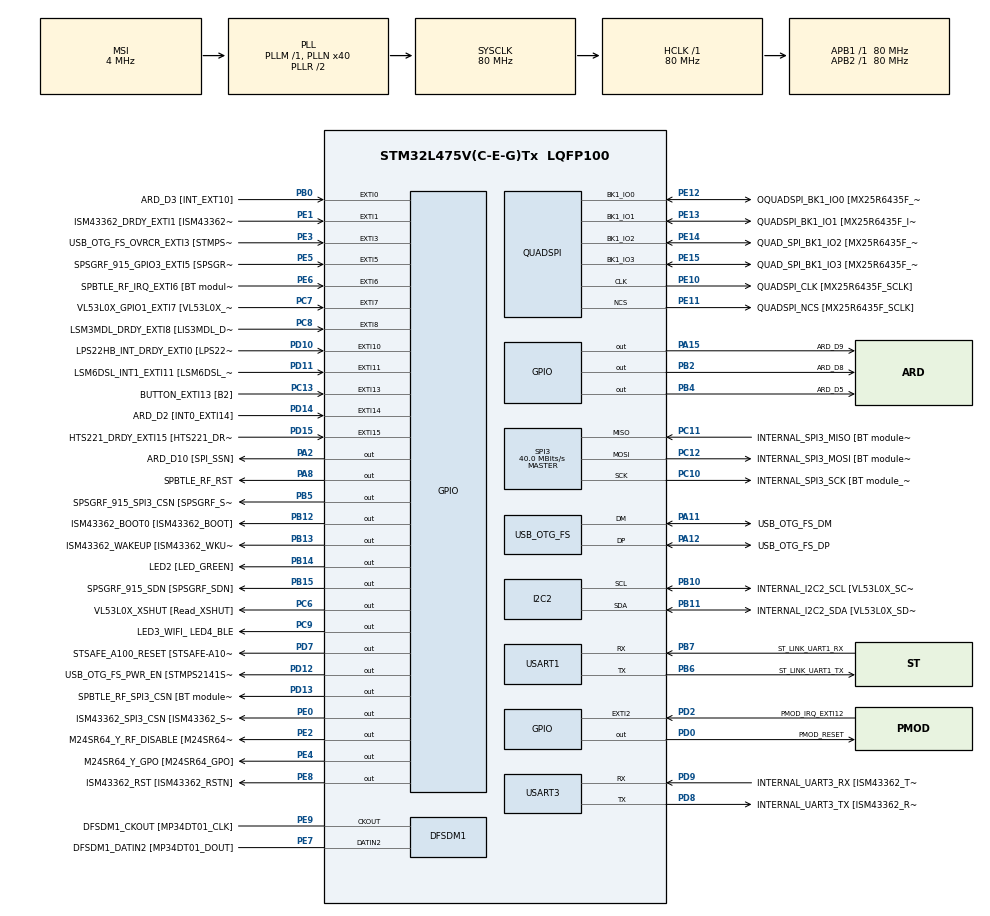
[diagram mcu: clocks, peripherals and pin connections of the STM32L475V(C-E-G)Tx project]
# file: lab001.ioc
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FREERTOS.BinarySemaphores01=BinarySem01,Dynamic,NULL,Available;BinarySem02,Dynamic,NULL,Available
FREERTOS.Mutexes01=Mutex01,Dynamic,NULL,Available
FREERTOS.Tasks01=defaultTask,24,128,StartDefaultTask,Default,NULL,Dynamic,NULL,NULL;Task01,8,128,StartTask02,Default,NULL,Dynamic,NULL,NULL;Task02,8,128,StartTask03,Default,NULL,Dynamic,NULL,NULL
I2C2.Timing=0x10D19CE4
Mcu.Family=STM32L4
Mcu.Name=STM32L475V(C-E-G)Tx
Mcu.Package=LQFP100
NVIC.EXTI15_10_IRQn=true\:5\:0\:false\:false\:true\:true\:true\:true\:true
NVIC.EXTI9_5_IRQn=true\:5\:0\:false\:false\:true\:true\:true\:true\:true
NVIC.PriorityGroup=NVIC_PRIORITYGROUP_4
NVIC.TIM6_DAC_IRQn=true\:5\:0\:false\:false\:true\:true\:true\:true\:true
PA0.GPIO_Label=ARD_D1 [UART4_TX]
PA0.Signal=UART4_TX
PA1.GPIO_Label=ARD_D0 [UART4_RX]
PA1.Signal=UART4_RX
PA10.GPIO_Label=USB_OTG_FS_ID
PA10.Signal=USB_OTG_FS_ID
PA11.GPIO_Label=USB_OTG_FS_DM
PA11.Mode=Device_Only
PA11.Signal=USB_OTG_FS_DM
PA12.GPIO_Label=USB_OTG_FS_DP
PA12.Mode=Device_Only
PA12.Signal=USB_OTG_FS_DP
PA13\ (JTMS-SWDIO).GPIO_Label=SYS_JTMS_SWDIO
PA13\ (JTMS-SWDIO).Mode=Serial_Wire
PA13\ (JTMS-SWDIO).Signal=SYS_JTMS-SWDIO
PA14\ (JTCK-SWCLK).GPIO_Label=SYS_JTCK_SWCLK
PA14\ (JTCK-SWCLK).Mode=Serial_Wire
PA14\ (JTCK-SWCLK).Signal=SYS_JTCK-SWCLK
PA15\ (JTDI).GPIO_Label=ARD_D9
PA15\ (JTDI).Signal=GPIO_Output
PA2.GPIO_Label=ARD_D10 [SPI_SSN]
PA2.Signal=GPIO_Output
PA3.GPIO_Label=ARD_D4
PA3.Signal=S_TIM2_CH4
PA4.GPIO_Label=ARD_D7
PA4.Signal=ADCx_IN9
PA5.GPIO_Label=ARD_D13 [SPI1_SCK]
PA5.Signal=SPI1_SCK
PA6.GPIO_Label=ARD_D12 [SPI1_MISO]
PA6.Signal=SPI1_MISO
PA7.GPIO_Label=ARD_D11 [SPI1_MOSI]
PA7.Signal=SPI1_MOSI
PA8.GPIO_Label=SPBTLE_RF_RST
PA8.Signal=GPIO_Output
PA9.GPIO_Label=USB_OTG_FS_VBUS [STMPS2141STR_OUT]
PA9.Signal=USB_OTG_FS_VBUS
PB0.GPIO_Label=ARD_D3 [INT_EXT10]
PB0.Signal=GPXTI0
PB1.GPIO_Label=ARD_D6 [ADC1_IN6]
PB1.Signal=ADCx_IN16
PB10.GPIO_Label=INTERNAL_I2C2_SCL [VL53L0X_SCL]
PB10.GPIO_Pu=GPIO_PULLUP
PB10.Mode=I2C
PB10.Signal=I2C2_SCL
PB11.GPIO_Label=INTERNAL_I2C2_SDA [VL53L0X_SDA]
PB11.GPIO_Pu=GPIO_PULLUP
PB11.Mode=I2C
PB11.Signal=I2C2_SDA
PB12.GPIO_Label=ISM43362_BOOT0 [ISM43362_BOOT]
PB12.Signal=GPIO_Output
PB13.GPIO_Label=ISM43362_WAKEUP [ISM43362_WKUP]
PB13.GPIO_PuPd=GPIO_NOPULL
PB13.Signal=GPIO_Output
PB14.GPIO_Label=LED2 [LED_GREEN]
PB14.Signal=GPIO_Output
PB15.GPIO_Label=SPSGRF_915_SDN [SPSGRF_SDN]
PB15.Signal=GPIO_Output
PB2.GPIO_Label=ARD_D8
PB2.Signal=GPIO_Output
PB3\ (JTDO-TRACESWO).GPIO_Label=SYS_JTD0_SWO
PB3\ (JTDO-TRACESWO).Signal=SYS_JTDO-SWO
PB4\ (NJTRST).GPIO_Label=ARD_D5
PB4\ (NJTRST).Signal=GPIO_Output
PB5.GPIO_Label=SPSGRF_915_SPI3_CSN [SPSGRF_SPI_CS]
PB5.PinState=GPIO_PIN_SET
PB5.Signal=GPIO_Output
PB6.GPIO_Label=ST_LINK_UART1_TX
PB6.Mode=Asynchronous
PB6.Signal=USART1_TX
PB7.GPIO_Label=ST_LINK_UART1_RX
PB7.Mode=Asynchronous
PB7.Signal=USART1_RX
PB8.GPIO_Label=ARD_D15 [I2C1_SCL]
PB8.Signal=I2C1_SCL
PB9.GPIO_Label=ARD_D14 [I2C1_SDA]
PB9.Signal=I2C1_SDA
PC0.GPIO_Label=ARD_A5 [ADC]
PC0.Signal=ADCx_IN1
PC1.GPIO_Label=ARD_A4 [ADC]
PC1.Signal=ADCx_IN2
PC10.GPIO_Label=INTERNAL_SPI3_SCK [BT module_SPI_SCLK] [ISM43362_SCK]
PC10.Mode=Full_Duplex_Master
PC10.Signal=SPI3_SCK
PC11.GPIO_Label=INTERNAL_SPI3_MISO [BT module_SPI_MISO] [ISM43362_MISO]
PC11.Mode=Full_Duplex_Master
PC11.Signal=SPI3_MISO
PC12.GPIO_Label=INTERNAL_SPI3_MOSI [BT module_SPI_MOSI] [ISM43362_MOSI]
PC12.Mode=Full_Duplex_Master
PC12.Signal=SPI3_MOSI
PC13.GPIO_Label=BUTTON_EXTI13 [B2]
PC13.GPIO_PuPd=GPIO_NOPULL
PC13.Signal=GPXTI13
PC14-OSC32_IN\ (PC14).Mode=LSE-External-Oscillator
PC14-OSC32_IN\ (PC14).Signal=RCC_OSC32_IN
PC15-OSC32_OUT\ (PC15).Mode=LSE-External-Oscillator
PC15-OSC32_OUT\ (PC15).Signal=RCC_OSC32_OUT
PC2.GPIO_Label=ARD_A3 [ADC]
PC2.Signal=ADCx_IN3
PC3.GPIO_Label=ARD_A2 [ADC]
PC3.Signal=ADCx_IN4
PC4.GPIO_Label=ARD_A1 [ADC]
PC4.Signal=ADCx_IN13
PC5.GPIO_Label=ARD_A0 [ADC]
PC5.Signal=ADCx_IN14
PC6.GPIO_Label=VL53L0X_XSHUT [Read_XSHUT]
PC6.Signal=GPIO_Output
PC7.GPIO_Label=VL53L0X_GPIO1_EXTI7 [VL53L0X_GPIO1]
PC7.Signal=GPXTI7
PC8.GPIO_Label=LSM3MDL_DRDY_EXTI8 [LIS3MDL_DRDY]
PC8.Signal=GPXTI8
PC9.GPIO_Label=LED3_WIFI_ LED4_BLE
PC9.Signal=GPIO_Output
PD0.GPIO_Label=PMOD_RESET
PD0.Signal=GPIO_Output
PD1.GPIO_Label=PMOD_SPI2_SCK
PD1.Signal=SPI2_SCK
PD10.GPIO_Label=LPS22HB_INT_DRDY_EXTI0 [LPS22HB_INT_DRDY] 
PD10.Signal=GPXTI10
PD11.GPIO_Label=LSM6DSL_INT1_EXTI11 [LSM6DSL_INT1]
PD11.Signal=GPXTI11
PD12.GPIO_Label=USB_OTG_FS_PWR_EN [STMPS2141STR_EN]
PD12.Signal=GPIO_Output
PD13.GPIO_Label=SPBTLE_RF_SPI3_CSN [BT module_SPI_CS]
PD13.PinState=GPIO_PIN_SET
PD13.Signal=GPIO_Output
PD14.GPIO_Label=ARD_D2 [INT0_EXTI14]
PD14.Signal=GPXTI14
PD15.GPIO_Label=HTS221_DRDY_EXTI15 [HTS221_DRDY]
PD15.Signal=GPXTI15
PD2.GPIO_Label=PMOD_IRQ_EXTI12
PD2.Signal=GPXTI2
PD3.GPIO_Label=PMOD_UART2_CTS
PD3.Signal=USART2_CTS
PD4.GPIO_Label=PMOD_UART2_RTS
PD4.Signal=USART2_RTS
PD5.GPIO_Label=PMOD_UART2_TX
PD5.Signal=USART2_TX
PD6.GPIO_Label=PMOD_UART2_RX
PD6.Signal=USART2_RX
PD7.GPIO_Label=STSAFE_A100_RESET [STSAFE-A100_RESET]
PD7.Signal=GPIO_Output
PD8.GPIO_Label=INTERNAL_UART3_TX [ISM43362_RX]
PD8.Mode=Asynchronous
PD8.Signal=USART3_TX
PD9.GPIO_Label=INTERNAL_UART3_RX [ISM43362_TX]
PD9.Mode=Asynchronous
PD9.Signal=USART3_RX
PE0.GPIO_Label=ISM43362_SPI3_CSN [ISM43362_SSN]
PE0.PinState=GPIO_PIN_SET
PE0.Signal=GPIO_Output
PE1.GPIO_Label=ISM43362_DRDY_EXTI1 [ISM43362_DATARDY]
PE1.Signal=GPXTI1
PE10.GPIO_Label=QUADSPI_CLK [MX25R6435F_SCLK]
PE10.Mode=Single Bank
PE10.Signal=QUADSPI_CLK
PE11.GPIO_Label=QUADSPI_NCS [MX25R6435F_SCLK]
PE11.Mode=Single Bank
PE11.Signal=QUADSPI_NCS
PE12.GPIO_Label=OQUADSPI_BK1_IO0 [MX25R6435F_IO0]
PE12.Mode=Single Bank
PE12.Signal=QUADSPI_BK1_IO0
PE13.GPIO_Label=QUADSPI_BK1_IO1 [MX25R6435F_IO1]
PE13.Mode=Single Bank
PE13.Signal=QUADSPI_BK1_IO1
PE14.GPIO_Label=QUAD_SPI_BK1_IO2 [MX25R6435F_IO2]
PE14.Mode=Single Bank
PE14.Signal=QUADSPI_BK1_IO2
PE15.GPIO_Label=QUAD_SPI_BK1_IO3 [MX25R6435F_IO3]
PE15.Mode=Single Bank
PE15.Signal=QUADSPI_BK1_IO3
PE2.GPIO_Label=M24SR64_Y_RF_DISABLE [M24SR64_RFDIS]
PE2.Signal=GPIO_Output
PE3.GPIO_Label=USB_OTG_FS_OVRCR_EXTI3 [STMPS2141STR_FAULT]
PE3.Signal=GPXTI3
PE4.GPIO_Label=M24SR64_Y_GPO [M24SR64_GPO]
PE4.Signal=GPIO_Output
PE5.GPIO_Label=SPSGRF_915_GPIO3_EXTI5 [SPSGRF_GPIO_3]
PE5.Signal=GPXTI5
PE6.GPIO_Label=SPBTLE_RF_IRQ_EXTI6 [BT module_SPI_IRQ]
PE6.Signal=GPXTI6
PE7.GPIO_Label=DFSDM1_DATIN2 [MP34DT01_DOUT]
PE7.Signal=S_DATAIN2DFSDM1
PE8.GPIO_Label=ISM43362_RST [ISM43362_RSTN]
PE8.Signal=GPIO_Output
PE9.GPIO_Label=DFSDM1_CKOUT [MP34DT01_CLK]
PE9.Signal=S_CKOUTDFSDM1
ProjectManager.HeapSize=0x200
ProjectManager.StackSize=0x400
ProjectManager.TargetToolchain=STM32CubeIDE
QUADSPI.ClockPrescaler=2
QUADSPI.FifoThreshold=4
QUADSPI.FlashSize=23
QUADSPI.SampleShifting=QSPI_SAMPLE_SHIFTING_HALFCYCLE
RCC.ADCFreq_Value=48000000
RCC.AHBFreq_Value=80000000
RCC.APB1Freq_Value=80000000
RCC.APB1TimFreq_Value=80000000
RCC.APB2Freq_Value=80000000
RCC.APB2TimFreq_Value=80000000
RCC.CortexFreq_Value=80000000
RCC.HCLKFreq_Value=80000000
RCC.HSE_VALUE=8000000
RCC.HSI_VALUE=16000000
RCC.MSI_VALUE=4000000
RCC.PLLN=40
RCC.PLLSAI1N=24
RCC.SYSCLKFreq_VALUE=80000000
RCC.SYSCLKSource=RCC_SYSCLKSOURCE_PLLCLK
RCC.USBFreq_Value=48000000
RCC.VCOOutputFreq_Value=160000000
SH.ADCx_IN1.0=ADC1_IN1
SH.ADCx_IN13.0=ADC1_IN13
SH.ADCx_IN14.0=ADC1_IN14
SH.ADCx_IN16.0=ADC1_IN16
SH.ADCx_IN2.0=ADC1_IN2
SH.ADCx_IN3.0=ADC1_IN3
SH.ADCx_IN4.0=ADC1_IN4
SH.ADCx_IN9.0=ADC1_IN9
SH.S_CKOUTDFSDM1.0=DFSDM1_CKOUT,CKOUT
SH.S_CKOUTDFSDM1.1=DFSDM1_CKOUT,PDM_SPI_Input_from_ch12_and_Internal_Clock
SH.S_DATAIN2DFSDM1.0=DFSDM1_DATIN2,PDM_SPI_Input_from_ch12_and_Internal_Clock
SH.S_TIM2_CH4.0=TIM2_CH4
SPI3.CalculateBaudRate=40.0 MBits/s
SPI3.Direction=SPI_DIRECTION_2LINES
SPI3.Mode=SPI_MODE_MASTER
SPI3.VirtualType=VM_MASTER
TIM6.AutoReloadPreload=TIM_AUTORELOAD_PRELOAD_ENABLE
TIM6.Period=31999
TIM6.Prescaler=24999
USART1.VirtualMode-Asynchronous=VM_ASYNC
USART3.VirtualMode-Asynchronous=VM_ASYNC
USB_OTG_FS.VirtualMode=Device_Only
VP_FREERTOS_VS_CMSIS_V2.Mode=CMSIS_V2
VP_TIM6_VS_ClockSourceINT.Mode=Enable_Timer
board=B-L475E-IOT01A1

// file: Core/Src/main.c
/* USER CODE BEGIN Header */
/**
  ******************************************************************************
  * @file           : main.c
  * @brief          : Main program body
  ******************************************************************************
  * @attention
  *
  * Copyright (c) 2024 STMicroelectronics.
  * All rights reserved.
  *
  * This software is licensed under terms that can be found in the LICENSE file
  * in the root directory of this software component.
  * If no LICENSE file comes with this software, it is provided AS-IS.
  *
  ******************************************************************************
  */
/* USER CODE END Header */
#include "main.h"
#include "cmsis_os.h"

DFSDM_Channel_HandleTypeDef hdfsdm1_channel1;

I2C_HandleTypeDef hi2c2;

QSPI_HandleTypeDef hqspi;

SPI_HandleTypeDef hspi3;

TIM_HandleTypeDef htim6;

UART_HandleTypeDef huart1;
UART_HandleTypeDef huart3;

PCD_HandleTypeDef hpcd_USB_OTG_FS;

/* Definitions for defaultTask */
osThreadId_t defaultTaskHandle;
const osThreadAttr_t defaultTask_attributes = {
  .name = "defaultTask",
  .stack_size = 128 * 4,
  .priority = (osPriority_t) osPriorityNormal,
};
/* Definitions for Task01 */
osThreadId_t Task01Handle;
const osThreadAttr_t Task01_attributes = {
  .name = "Task01",
  .stack_size = 128 * 4,
  .priority = (osPriority_t) osPriorityLow,
};
/* Definitions for Task02 */
osThreadId_t Task02Handle;
const osThreadAttr_t Task02_attributes = {
  .name = "Task02",
  .stack_size = 128 * 4,
  .priority = (osPriority_t) osPriorityLow,
};
/* Definitions for Mutex01 */
osMutexId_t Mutex01Handle;
const osMutexAttr_t Mutex01_attributes = {
  .name = "Mutex01"
};
/* Definitions for BinarySem01 */
osSemaphoreId_t BinarySem01Handle;
const osSemaphoreAttr_t BinarySem01_attributes = {
  .name = "BinarySem01"
};
/* Definitions for BinarySem02 */
osSemaphoreId_t BinarySem02Handle;
const osSemaphoreAttr_t BinarySem02_attributes = {
  .name = "BinarySem02"
};

void SystemClock_Config(void);
static void MX_GPIO_Init(void);
static void MX_DFSDM1_Init(void);
static void MX_I2C2_Init(void);
static void MX_QUADSPI_Init(void);
static void MX_SPI3_Init(void);
static void MX_USART1_UART_Init(void);
static void MX_USART3_UART_Init(void);
static void MX_USB_OTG_FS_PCD_Init(void);
static void MX_TIM6_Init(void);
void StartDefaultTask(void *argument);
void StartTask02(void *argument);
void StartTask03(void *argument);

/* USER CODE BEGIN 0 */
void HAL_TIM_PeriodElapsedCallback(TIM_HandleTypeDef *htim)
{
  /* Prevent unused argument(s) compilation warning */
	if (htim == &htim6){
		osSemaphoreRelease(BinarySem02Handle);
	}

  /* NOTE : This function should not be modified, when the callback is needed,
            the HAL_TIM_PeriodElapsedCallback could be implemented in the user file
   */
}

/* USER CODE END 0 */

int main(void)
{

  /* MCU Configuration--------------------------------------------------------*/

  /* Reset of all peripherals, Initializes the Flash interface and the Systick. */
  HAL_Init();

  /* Configure the system clock */
  SystemClock_Config();

  /* Initialize all configured peripherals */
  MX_GPIO_Init();
  MX_DFSDM1_Init();
  MX_I2C2_Init();
  MX_QUADSPI_Init();
  MX_SPI3_Init();
  MX_USART1_UART_Init();
  MX_USART3_UART_Init();
  MX_USB_OTG_FS_PCD_Init();
  MX_TIM6_Init();
  /* USER CODE BEGIN 2 */
  HAL_TIM_Base_Start_IT(&htim6);
  /* USER CODE END 2 */

  /* Init scheduler */
  osKernelInitialize();
  /* Create the mutex(es) */
  /* creation of Mutex01 */
  Mutex01Handle = osMutexNew(&Mutex01_attributes);

  /* Create the semaphores(s) */
  /* creation of BinarySem01 */
  BinarySem01Handle = osSemaphoreNew(1, 0, &BinarySem01_attributes);

  /* creation of BinarySem02 */
  BinarySem02Handle = osSemaphoreNew(1, 1, &BinarySem02_attributes);

  /* Create the thread(s) */
  /* creation of defaultTask */
  defaultTaskHandle = osThreadNew(StartDefaultTask, NULL, &defaultTask_attributes);

  /* creation of Task01 */
  Task01Handle = osThreadNew(StartTask02, NULL, &Task01_attributes);

  /* creation of Task02 */
  Task02Handle = osThreadNew(StartTask03, NULL, &Task02_attributes);

  /* Start scheduler */
  osKernelStart();

  /* We should never get here as control is now taken by the scheduler */

  /* Infinite loop */
  while (1)
  {

  }
}

void SystemClock_Config(void)
{
  RCC_OscInitTypeDef RCC_OscInitStruct = {0};
  RCC_ClkInitTypeDef RCC_ClkInitStruct = {0};

  /** Configure the main internal regulator output voltage
  */
  if (HAL_PWREx_ControlVoltageScaling(PWR_REGULATOR_VOLTAGE_SCALE1) != HAL_OK)
  {
    Error_Handler();
  }

  /** Configure LSE Drive Capability
  */
  HAL_PWR_EnableBkUpAccess();
  __HAL_RCC_LSEDRIVE_CONFIG(RCC_LSEDRIVE_LOW);

  /** Initializes the RCC Oscillators according to the specified parameters
  * in the RCC_OscInitTypeDef structure.
  */
  RCC_OscInitStruct.OscillatorType = RCC_OSCILLATORTYPE_LSE|RCC_OSCILLATORTYPE_MSI;
  RCC_OscInitStruct.LSEState = RCC_LSE_ON;
  RCC_OscInitStruct.MSIState = RCC_MSI_ON;
  RCC_OscInitStruct.MSICalibrationValue = 0;
  RCC_OscInitStruct.MSIClockRange = RCC_MSIRANGE_6;
  RCC_OscInitStruct.PLL.PLLState = RCC_PLL_ON;
  RCC_OscInitStruct.PLL.PLLSource = RCC_PLLSOURCE_MSI;
  RCC_OscInitStruct.PLL.PLLM = 1;
  RCC_OscInitStruct.PLL.PLLN = 40;
  RCC_OscInitStruct.PLL.PLLP = RCC_PLLP_DIV7;
  RCC_OscInitStruct.PLL.PLLQ = RCC_PLLQ_DIV2;
  RCC_OscInitStruct.PLL.PLLR = RCC_PLLR_DIV2;
  if (HAL_RCC_OscConfig(&RCC_OscInitStruct) != HAL_OK)
  {
    Error_Handler();
  }

  /** Initializes the CPU, AHB and APB buses clocks
  */
  RCC_ClkInitStruct.ClockType = RCC_CLOCKTYPE_HCLK|RCC_CLOCKTYPE_SYSCLK
                              |RCC_CLOCKTYPE_PCLK1|RCC_CLOCKTYPE_PCLK2;
  RCC_ClkInitStruct.SYSCLKSource = RCC_SYSCLKSOURCE_PLLCLK;
  RCC_ClkInitStruct.AHBCLKDivider = RCC_SYSCLK_DIV1;
  RCC_ClkInitStruct.APB1CLKDivider = RCC_HCLK_DIV1;
  RCC_ClkInitStruct.APB2CLKDivider = RCC_HCLK_DIV1;

  if (HAL_RCC_ClockConfig(&RCC_ClkInitStruct, FLASH_LATENCY_4) != HAL_OK)
  {
    Error_Handler();
  }

  /** Enable MSI Auto calibration
  */
  HAL_RCCEx_EnableMSIPLLMode();
}

static void MX_DFSDM1_Init(void)
{

  hdfsdm1_channel1.Instance = DFSDM1_Channel1;
  hdfsdm1_channel1.Init.OutputClock.Activation = ENABLE;
  hdfsdm1_channel1.Init.OutputClock.Selection = DFSDM_CHANNEL_OUTPUT_CLOCK_SYSTEM;
  hdfsdm1_channel1.Init.OutputClock.Divider = 2;
  hdfsdm1_channel1.Init.Input.Multiplexer = DFSDM_CHANNEL_EXTERNAL_INPUTS;
  hdfsdm1_channel1.Init.Input.DataPacking = DFSDM_CHANNEL_STANDARD_MODE;
  hdfsdm1_channel1.Init.Input.Pins = DFSDM_CHANNEL_FOLLOWING_CHANNEL_PINS;
  hdfsdm1_channel1.Init.SerialInterface.Type = DFSDM_CHANNEL_SPI_RISING;
  hdfsdm1_channel1.Init.SerialInterface.SpiClock = DFSDM_CHANNEL_SPI_CLOCK_INTERNAL;
  hdfsdm1_channel1.Init.Awd.FilterOrder = DFSDM_CHANNEL_FASTSINC_ORDER;
  hdfsdm1_channel1.Init.Awd.Oversampling = 1;
  hdfsdm1_channel1.Init.Offset = 0;
  hdfsdm1_channel1.Init.RightBitShift = 0x00;
  if (HAL_DFSDM_ChannelInit(&hdfsdm1_channel1) != HAL_OK)
  {
    Error_Handler();
  }

}

static void MX_I2C2_Init(void)
{

  hi2c2.Instance = I2C2;
  hi2c2.Init.Timing = 0x10D19CE4;
  hi2c2.Init.OwnAddress1 = 0;
  hi2c2.Init.AddressingMode = I2C_ADDRESSINGMODE_7BIT;
  hi2c2.Init.DualAddressMode = I2C_DUALADDRESS_DISABLE;
  hi2c2.Init.OwnAddress2 = 0;
  hi2c2.Init.OwnAddress2Masks = I2C_OA2_NOMASK;
  hi2c2.Init.GeneralCallMode = I2C_GENERALCALL_DISABLE;
  hi2c2.Init.NoStretchMode = I2C_NOSTRETCH_DISABLE;
  if (HAL_I2C_Init(&hi2c2) != HAL_OK)
  {
    Error_Handler();
  }

  /** Configure Analogue filter
  */
  if (HAL_I2CEx_ConfigAnalogFilter(&hi2c2, I2C_ANALOGFILTER_ENABLE) != HAL_OK)
  {
    Error_Handler();
  }

  /** Configure Digital filter
  */
  if (HAL_I2CEx_ConfigDigitalFilter(&hi2c2, 0) != HAL_OK)
  {
    Error_Handler();
  }

}

static void MX_QUADSPI_Init(void)
{

  /* QUADSPI parameter configuration*/
  hqspi.Instance = QUADSPI;
  hqspi.Init.ClockPrescaler = 2;
  hqspi.Init.FifoThreshold = 4;
  hqspi.Init.SampleShifting = QSPI_SAMPLE_SHIFTING_HALFCYCLE;
  hqspi.Init.FlashSize = 23;
  hqspi.Init.ChipSelectHighTime = QSPI_CS_HIGH_TIME_1_CYCLE;
  hqspi.Init.ClockMode = QSPI_CLOCK_MODE_0;
  if (HAL_QSPI_Init(&hqspi) != HAL_OK)
  {
    Error_Handler();
  }

}

static void MX_SPI3_Init(void)
{

  /* SPI3 parameter configuration*/
  hspi3.Instance = SPI3;
  hspi3.Init.Mode = SPI_MODE_MASTER;
  hspi3.Init.Direction = SPI_DIRECTION_2LINES;
  hspi3.Init.DataSize = SPI_DATASIZE_4BIT;
  hspi3.Init.CLKPolarity = SPI_POLARITY_LOW;
  hspi3.Init.CLKPhase = SPI_PHASE_1EDGE;
  hspi3.Init.NSS = SPI_NSS_SOFT;
  hspi3.Init.BaudRatePrescaler = SPI_BAUDRATEPRESCALER_2;
  hspi3.Init.FirstBit = SPI_FIRSTBIT_MSB;
  hspi3.Init.TIMode = SPI_TIMODE_DISABLE;
  hspi3.Init.CRCCalculation = SPI_CRCCALCULATION_DISABLE;
  hspi3.Init.CRCPolynomial = 7;
  hspi3.Init.CRCLength = SPI_CRC_LENGTH_DATASIZE;
  hspi3.Init.NSSPMode = SPI_NSS_PULSE_ENABLE;
  if (HAL_SPI_Init(&hspi3) != HAL_OK)
  {
    Error_Handler();
  }

}

static void MX_TIM6_Init(void)
{

  TIM_MasterConfigTypeDef sMasterConfig = {0};

  htim6.Instance = TIM6;
  htim6.Init.Prescaler = 24999;
  htim6.Init.CounterMode = TIM_COUNTERMODE_UP;
  htim6.Init.Period = 31999;
  htim6.Init.AutoReloadPreload = TIM_AUTORELOAD_PRELOAD_ENABLE;
  if (HAL_TIM_Base_Init(&htim6) != HAL_OK)
  {
    Error_Handler();
  }
  sMasterConfig.MasterOutputTrigger = TIM_TRGO_RESET;
  sMasterConfig.MasterSlaveMode = TIM_MASTERSLAVEMODE_DISABLE;
  if (HAL_TIMEx_MasterConfigSynchronization(&htim6, &sMasterConfig) != HAL_OK)
  {
    Error_Handler();
  }

}

static void MX_USART1_UART_Init(void)
{

  huart1.Instance = USART1;
  huart1.Init.BaudRate = 115200;
  huart1.Init.WordLength = UART_WORDLENGTH_8B;
  huart1.Init.StopBits = UART_STOPBITS_1;
  huart1.Init.Parity = UART_PARITY_NONE;
  huart1.Init.Mode = UART_MODE_TX_RX;
  huart1.Init.HwFlowCtl = UART_HWCONTROL_NONE;
  huart1.Init.OverSampling = UART_OVERSAMPLING_16;
  huart1.Init.OneBitSampling = UART_ONE_BIT_SAMPLE_DISABLE;
  huart1.AdvancedInit.AdvFeatureInit = UART_ADVFEATURE_NO_INIT;
  if (HAL_UART_Init(&huart1) != HAL_OK)
  {
    Error_Handler();
  }

}

static void MX_USART3_UART_Init(void)
{

  huart3.Instance = USART3;
  huart3.Init.BaudRate = 115200;
  huart3.Init.WordLength = UART_WORDLENGTH_8B;
  huart3.Init.StopBits = UART_STOPBITS_1;
  huart3.Init.Parity = UART_PARITY_NONE;
  huart3.Init.Mode = UART_MODE_TX_RX;
  huart3.Init.HwFlowCtl = UART_HWCONTROL_NONE;
  huart3.Init.OverSampling = UART_OVERSAMPLING_16;
  huart3.Init.OneBitSampling = UART_ONE_BIT_SAMPLE_DISABLE;
  huart3.AdvancedInit.AdvFeatureInit = UART_ADVFEATURE_NO_INIT;
  if (HAL_UART_Init(&huart3) != HAL_OK)
  {
    Error_Handler();
  }

}

static void MX_USB_OTG_FS_PCD_Init(void)
{

  hpcd_USB_OTG_FS.Instance = USB_OTG_FS;
  hpcd_USB_OTG_FS.Init.dev_endpoints = 6;
  hpcd_USB_OTG_FS.Init.speed = PCD_SPEED_FULL;
  hpcd_USB_OTG_FS.Init.phy_itface = PCD_PHY_EMBEDDED;
  hpcd_USB_OTG_FS.Init.Sof_enable = DISABLE;
  hpcd_USB_OTG_FS.Init.low_power_enable = DISABLE;
  hpcd_USB_OTG_FS.Init.lpm_enable = DISABLE;
  hpcd_USB_OTG_FS.Init.battery_charging_enable = DISABLE;
  hpcd_USB_OTG_FS.Init.use_dedicated_ep1 = DISABLE;
  hpcd_USB_OTG_FS.Init.vbus_sensing_enable = DISABLE;
  if (HAL_PCD_Init(&hpcd_USB_OTG_FS) != HAL_OK)
  {
    Error_Handler();
  }

}

static void MX_GPIO_Init(void)
{
  GPIO_InitTypeDef GPIO_InitStruct = {0};

  /* GPIO Ports Clock Enable */
  __HAL_RCC_GPIOE_CLK_ENABLE();
  __HAL_RCC_GPIOC_CLK_ENABLE();
  __HAL_RCC_GPIOA_CLK_ENABLE();
  __HAL_RCC_GPIOB_CLK_ENABLE();
  __HAL_RCC_GPIOD_CLK_ENABLE();

  /*Configure GPIO pin Output Level */
  HAL_GPIO_WritePin(GPIOE, M24SR64_Y_RF_DISABLE_Pin|M24SR64_Y_GPO_Pin|ISM43362_RST_Pin, GPIO_PIN_RESET);

  /*Configure GPIO pin Output Level */
  HAL_GPIO_WritePin(GPIOA, ARD_D10_Pin|SPBTLE_RF_RST_Pin|ARD_D9_Pin, GPIO_PIN_RESET);

  /*Configure GPIO pin Output Level */
  HAL_GPIO_WritePin(GPIOB, ARD_D8_Pin|ISM43362_BOOT0_Pin|ISM43362_WAKEUP_Pin|LED2_Pin
                          |SPSGRF_915_SDN_Pin|ARD_D5_Pin, GPIO_PIN_RESET);

  /*Configure GPIO pin Output Level */
  HAL_GPIO_WritePin(GPIOD, USB_OTG_FS_PWR_EN_Pin|PMOD_RESET_Pin|STSAFE_A100_RESET_Pin, GPIO_PIN_RESET);

  /*Configure GPIO pin Output Level */
  HAL_GPIO_WritePin(SPBTLE_RF_SPI3_CSN_GPIO_Port, SPBTLE_RF_SPI3_CSN_Pin, GPIO_PIN_SET);

  /*Configure GPIO pin Output Level */
  HAL_GPIO_WritePin(GPIOC, VL53L0X_XSHUT_Pin|LED3_WIFI__LED4_BLE_Pin, GPIO_PIN_RESET);

  /*Configure GPIO pin Output Level */
  HAL_GPIO_WritePin(SPSGRF_915_SPI3_CSN_GPIO_Port, SPSGRF_915_SPI3_CSN_Pin, GPIO_PIN_SET);

  /*Configure GPIO pin Output Level */
  HAL_GPIO_WritePin(ISM43362_SPI3_CSN_GPIO_Port, ISM43362_SPI3_CSN_Pin, GPIO_PIN_SET);

  /*Configure GPIO pins : M24SR64_Y_RF_DISABLE_Pin M24SR64_Y_GPO_Pin ISM43362_RST_Pin ISM43362_SPI3_CSN_Pin */
  GPIO_InitStruct.Pin = M24SR64_Y_RF_DISABLE_Pin|M24SR64_Y_GPO_Pin|ISM43362_RST_Pin|ISM43362_SPI3_CSN_Pin;
  GPIO_InitStruct.Mode = GPIO_MODE_OUTPUT_PP;
  GPIO_InitStruct.Pull = GPIO_NOPULL;
  GPIO_InitStruct.Speed = GPIO_SPEED_FREQ_LOW;
  HAL_GPIO_Init(GPIOE, &GPIO_InitStruct);

  /*Configure GPIO pins : USB_OTG_FS_OVRCR_EXTI3_Pin SPSGRF_915_GPIO3_EXTI5_Pin SPBTLE_RF_IRQ_EXTI6_Pin ISM43362_DRDY_EXTI1_Pin */
  GPIO_InitStruct.Pin = USB_OTG_FS_OVRCR_EXTI3_Pin|SPSGRF_915_GPIO3_EXTI5_Pin|SPBTLE_RF_IRQ_EXTI6_Pin|ISM43362_DRDY_EXTI1_Pin;
  GPIO_InitStruct.Mode = GPIO_MODE_IT_RISING;
  GPIO_InitStruct.Pull = GPIO_NOPULL;
  HAL_GPIO_Init(GPIOE, &GPIO_InitStruct);

  /*Configure GPIO pins : BUTTON_EXTI13_Pin VL53L0X_GPIO1_EXTI7_Pin LSM3MDL_DRDY_EXTI8_Pin */
  GPIO_InitStruct.Pin = BUTTON_EXTI13_Pin|VL53L0X_GPIO1_EXTI7_Pin|LSM3MDL_DRDY_EXTI8_Pin;
  GPIO_InitStruct.Mode = GPIO_MODE_IT_RISING;
  GPIO_InitStruct.Pull = GPIO_NOPULL;
  HAL_GPIO_Init(GPIOC, &GPIO_InitStruct);

  /*Configure GPIO pins : ARD_A5_Pin ARD_A4_Pin ARD_A3_Pin ARD_A2_Pin
                           ARD_A1_Pin ARD_A0_Pin */
  GPIO_InitStruct.Pin = ARD_A5_Pin|ARD_A4_Pin|ARD_A3_Pin|ARD_A2_Pin
                          |ARD_A1_Pin|ARD_A0_Pin;
  GPIO_InitStruct.Mode = GPIO_MODE_ANALOG_ADC_CONTROL;
  GPIO_InitStruct.Pull = GPIO_NOPULL;
  HAL_GPIO_Init(GPIOC, &GPIO_InitStruct);

  /*Configure GPIO pins : ARD_D1_Pin ARD_D0_Pin */
  GPIO_InitStruct.Pin = ARD_D1_Pin|ARD_D0_Pin;
  GPIO_InitStruct.Mode = GPIO_MODE_AF_PP;
  GPIO_InitStruct.Pull = GPIO_NOPULL;
  GPIO_InitStruct.Speed = GPIO_SPEED_FREQ_VERY_HIGH;
  GPIO_InitStruct.Alternate = GPIO_AF8_UART4;
  HAL_GPIO_Init(GPIOA, &GPIO_InitStruct);

  /*Configure GPIO pins : ARD_D10_Pin SPBTLE_RF_RST_Pin ARD_D9_Pin */
  GPIO_InitStruct.Pin = ARD_D10_Pin|SPBTLE_RF_RST_Pin|ARD_D9_Pin;
  GPIO_InitStruct.Mode = GPIO_MODE_OUTPUT_PP;
  GPIO_InitStruct.Pull = GPIO_NOPULL;
  GPIO_InitStruct.Speed = GPIO_SPEED_FREQ_LOW;
  HAL_GPIO_Init(GPIOA, &GPIO_InitStruct);

  /*Configure GPIO pin : ARD_D4_Pin */
  GPIO_InitStruct.Pin = ARD_D4_Pin;
  GPIO_InitStruct.Mode = GPIO_MODE_AF_PP;
  GPIO_InitStruct.Pull = GPIO_NOPULL;
  GPIO_InitStruct.Speed = GPIO_SPEED_FREQ_LOW;
  GPIO_InitStruct.Alternate = GPIO_AF1_TIM2;
  HAL_GPIO_Init(ARD_D4_GPIO_Port, &GPIO_InitStruct);

  /*Configure GPIO pin : ARD_D7_Pin */
  GPIO_InitStruct.Pin = ARD_D7_Pin;
  GPIO_InitStruct.Mode = GPIO_MODE_ANALOG_ADC_CONTROL;
  GPIO_InitStruct.Pull = GPIO_NOPULL;
  HAL_GPIO_Init(ARD_D7_GPIO_Port, &GPIO_InitStruct);

  /*Configure GPIO pins : ARD_D13_Pin ARD_D12_Pin ARD_D11_Pin */
  GPIO_InitStruct.Pin = ARD_D13_Pin|ARD_D12_Pin|ARD_D11_Pin;
  GPIO_InitStruct.Mode = GPIO_MODE_AF_PP;
  GPIO_InitStruct.Pull = GPIO_NOPULL;
  GPIO_InitStruct.Speed = GPIO_SPEED_FREQ_VERY_HIGH;
  GPIO_InitStruct.Alternate = GPIO_AF5_SPI1;
  HAL_GPIO_Init(GPIOA, &GPIO_InitStruct);

  /*Configure GPIO pin : ARD_D3_Pin */
  GPIO_InitStruct.Pin = ARD_D3_Pin;
  GPIO_InitStruct.Mode = GPIO_MODE_IT_RISING;
  GPIO_InitStruct.Pull = GPIO_NOPULL;
  HAL_GPIO_Init(ARD_D3_GPIO_Port, &GPIO_InitStruct);

  /*Configure GPIO pin : ARD_D6_Pin */
  GPIO_InitStruct.Pin = ARD_D6_Pin;
  GPIO_InitStruct.Mode = GPIO_MODE_ANALOG_ADC_CONTROL;
  GPIO_InitStruct.Pull = GPIO_NOPULL;
  HAL_GPIO_Init(ARD_D6_GPIO_Port, &GPIO_InitStruct);

  /*Configure GPIO pins : ARD_D8_Pin ISM43362_BOOT0_Pin ISM43362_WAKEUP_Pin LED2_Pin
                           SPSGRF_915_SDN_Pin ARD_D5_Pin SPSGRF_915_SPI3_CSN_Pin */
  GPIO_InitStruct.Pin = ARD_D8_Pin|ISM43362_BOOT0_Pin|ISM43362_WAKEUP_Pin|LED2_Pin
                          |SPSGRF_915_SDN_Pin|ARD_D5_Pin|SPSGRF_915_SPI3_CSN_Pin;
  GPIO_InitStruct.Mode = GPIO_MODE_OUTPUT_PP;
  GPIO_InitStruct.Pull = GPIO_NOPULL;
  GPIO_InitStruct.Speed = GPIO_SPEED_FREQ_LOW;
  HAL_GPIO_Init(GPIOB, &GPIO_InitStruct);

  /*Configure GPIO pins : LPS22HB_INT_DRDY_EXTI0_Pin LSM6DSL_INT1_EXTI11_Pin ARD_D2_Pin HTS221_DRDY_EXTI15_Pin
                           PMOD_IRQ_EXTI12_Pin */
  GPIO_InitStruct.Pin = LPS22HB_INT_DRDY_EXTI0_Pin|LSM6DSL_INT1_EXTI11_Pin|ARD_D2_Pin|HTS221_DRDY_EXTI15_Pin
                          |PMOD_IRQ_EXTI12_Pin;
  GPIO_InitStruct.Mode = GPIO_MODE_IT_RISING;
  GPIO_InitStruct.Pull = GPIO_NOPULL;
  HAL_GPIO_Init(GPIOD, &GPIO_InitStruct);

  /*Configure GPIO pins : USB_OTG_FS_PWR_EN_Pin SPBTLE_RF_SPI3_CSN_Pin PMOD_RESET_Pin STSAFE_A100_RESET_Pin */
  GPIO_InitStruct.Pin = USB_OTG_FS_PWR_EN_Pin|SPBTLE_RF_SPI3_CSN_Pin|PMOD_RESET_Pin|STSAFE_A100_RESET_Pin;
  GPIO_InitStruct.Mode = GPIO_MODE_OUTPUT_PP;
  GPIO_InitStruct.Pull = GPIO_NOPULL;
  GPIO_InitStruct.Speed = GPIO_SPEED_FREQ_LOW;
  HAL_GPIO_Init(GPIOD, &GPIO_InitStruct);

  /*Configure GPIO pins : VL53L0X_XSHUT_Pin LED3_WIFI__LED4_BLE_Pin */
  GPIO_InitStruct.Pin = VL53L0X_XSHUT_Pin|LED3_WIFI__LED4_BLE_Pin;
  GPIO_InitStruct.Mode = GPIO_MODE_OUTPUT_PP;
  GPIO_InitStruct.Pull = GPIO_NOPULL;
  GPIO_InitStruct.Speed = GPIO_SPEED_FREQ_LOW;
  HAL_GPIO_Init(GPIOC, &GPIO_InitStruct);

  /*Configure GPIO pin : PMOD_SPI2_SCK_Pin */
  GPIO_InitStruct.Pin = PMOD_SPI2_SCK_Pin;
  GPIO_InitStruct.Mode = GPIO_MODE_AF_PP;
  GPIO_InitStruct.Pull = GPIO_NOPULL;
  GPIO_InitStruct.Speed = GPIO_SPEED_FREQ_VERY_HIGH;
  GPIO_InitStruct.Alternate = GPIO_AF5_SPI2;
  HAL_GPIO_Init(PMOD_SPI2_SCK_GPIO_Port, &GPIO_InitStruct);

  /*Configure GPIO pins : PMOD_UART2_CTS_Pin PMOD_UART2_RTS_Pin PMOD_UART2_TX_Pin PMOD_UART2_RX_Pin */
  GPIO_InitStruct.Pin = PMOD_UART2_CTS_Pin|PMOD_UART2_RTS_Pin|PMOD_UART2_TX_Pin|PMOD_UART2_RX_Pin;
  GPIO_InitStruct.Mode = GPIO_MODE_AF_PP;
  GPIO_InitStruct.Pull = GPIO_NOPULL;
  GPIO_InitStruct.Speed = GPIO_SPEED_FREQ_VERY_HIGH;
  GPIO_InitStruct.Alternate = GPIO_AF7_USART2;
  HAL_GPIO_Init(GPIOD, &GPIO_InitStruct);

  /*Configure GPIO pins : ARD_D15_Pin ARD_D14_Pin */
  GPIO_InitStruct.Pin = ARD_D15_Pin|ARD_D14_Pin;
  GPIO_InitStruct.Mode = GPIO_MODE_AF_OD;
  GPIO_InitStruct.Pull = GPIO_NOPULL;
  GPIO_InitStruct.Speed = GPIO_SPEED_FREQ_VERY_HIGH;
  GPIO_InitStruct.Alternate = GPIO_AF4_I2C1;
  HAL_GPIO_Init(GPIOB, &GPIO_InitStruct);

  /* EXTI interrupt init*/
  HAL_NVIC_SetPriority(EXTI9_5_IRQn, 5, 0);
  HAL_NVIC_EnableIRQ(EXTI9_5_IRQn);

  HAL_NVIC_SetPriority(EXTI15_10_IRQn, 5, 0);
  HAL_NVIC_EnableIRQ(EXTI15_10_IRQn);

}

/* USER CODE BEGIN 4 */
void HAL_GPIO_EXTI_Callback(uint16_t GPIO_Pin)
{
  /* Prevent unused argument(s) compilation warning */
	switch(GPIO_Pin)
	{
	case BUTTON_EXTI13_Pin:
		osSemaphoreRelease(BinarySem01Handle);
		break;
	default:
		break;
	}
  /* NOTE: This function should not be modified, when the callback is needed,
           the HAL_GPIO_EXTI_Callback could be implemented in the user file
   */
}
/* USER CODE END 4 */

void StartDefaultTask(void *argument)
{
  for(;;)
  {
    osDelay(1);
  }
}

void StartTask02(void *argument)
{
  /* USER CODE BEGIN StartTask02 */
  /* Infinite loop */

	for (;;) {
		// Wait for the semaphore from EXTI interrupt
		if (osSemaphoreAcquire(BinarySem01Handle, osWaitForever) == osOK) {
			// Try to take the mutex for LED control
			if (osMutexAcquire(Mutex01Handle, osWaitForever) == osOK) {
				// Blink LED2 at 1Hz for 5 seconds

				for (int i = 0; i < 10; i++) {
					HAL_GPIO_TogglePin(GPIOB, LED2_Pin);
					osDelay(500);  // 500 ms delay for 1Hz frequency
				}
				osMutexRelease(Mutex01Handle);  // Release the mutex after blinking
			}
		}
	}

  /* USER CODE END StartTask02 */
}

void StartTask03(void *argument)
{
  /* USER CODE BEGIN StartTask03 */
  /* Infinite loop */
	for (;;) {
			// Wait for the semaphore from Timer interrupt
			if (osSemaphoreAcquire(BinarySem02Handle, osWaitForever) == osOK) {
				// Try to take the mutex for LED control

				if (osMutexAcquire(Mutex01Handle, osWaitForever) == osOK) {
					// Blink LED2 at 10Hz for 2 seconds
					HAL_TIM_Base_Stop(&htim6);
					for (int i = 0; i < 40; i++) {
						HAL_GPIO_TogglePin(GPIOB, LED2_Pin);
						osDelay(50);
					}
					osMutexRelease(Mutex01Handle);  // Release the mutex after blinking
					HAL_TIM_Base_Start(&htim6);
				}
			}
		}
  /* USER CODE END StartTask03 */
}

void Error_Handler(void)
{
  __disable_irq();
  while (1)
  {
  }
}
